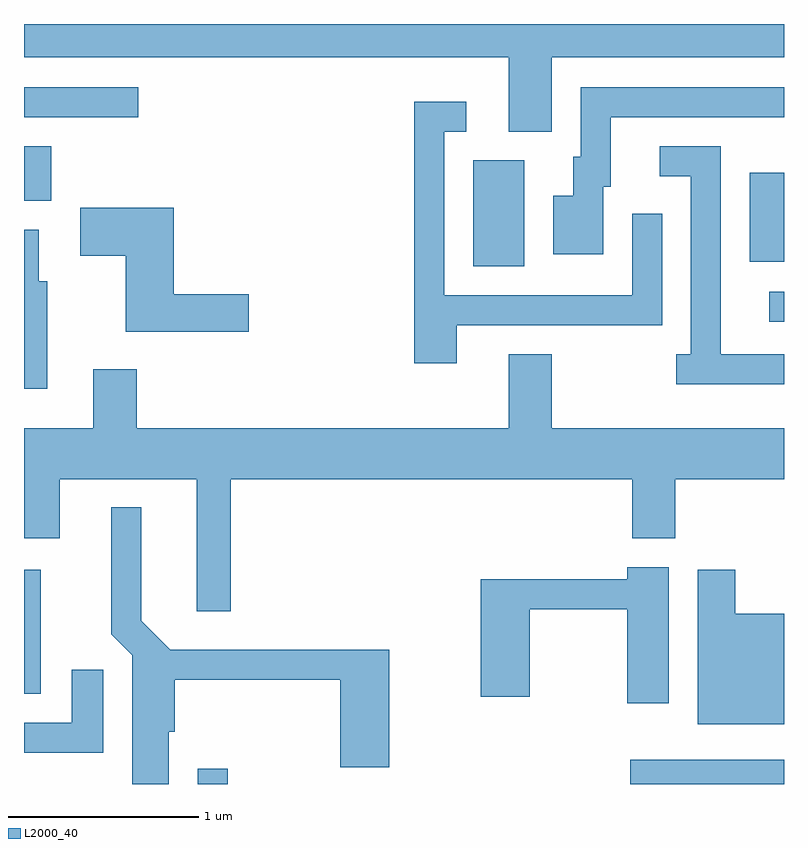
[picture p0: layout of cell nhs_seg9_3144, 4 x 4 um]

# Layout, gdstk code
import gdstk
lib = gdstk.Library(unit=1e-6, precision=1e-09)
def R(c, l, rs):  # rectangles x0, y0, x1, y1
    for r in rs: c.add(gdstk.rectangle(r[:2], r[2:], *l))
def P(c, l, *ps):  # polygons
    for p in ps: c.add(gdstk.Polygon(p, *l))
L2000_40 = (2000, 40)

nhs_seg9_3144 = lib.new_cell('nhs_seg9_3144')
R(nhs_seg9_3144, L2000_40, [(278.526,1992.432,278.684,1992.513), (280.803,1992.432,281.611,1992.559), (277.611,1992.906,277.699,1993.559), (281.533,1994.866,281.611,1995.024), (279.976,1995.156,280.244,1995.714), (281.431,1995.181,281.611,1995.649), (277.611,1995.501,277.754,1995.789), (277.611,1995.941,278.213,1996.099)])
P(nhs_seg9_3144, L2000_40, [(280.389,1996.256),(281.611,1996.256),(281.611,1996.432),(277.611,1996.432),(277.611,1996.256),(280.161,1996.256),(280.161,1995.866),(280.389,1995.866)],
  [(280.659,1995.576),(280.699,1995.576),(280.699,1995.941),(281.611,1995.941),(281.611,1996.099),(280.541,1996.099),(280.541,1995.734),(280.501,1995.734),(280.501,1995.529),(280.396,1995.529),(280.396,1995.221),(280.659,1995.221)],
  [(279.889,1994.846),(280.969,1994.846),(280.969,1995.433),(280.811,1995.433),(280.811,1995.004),(279.824,1995.004),(279.824,1995.866),(279.938,1995.866),(279.938,1996.024),(279.666,1996.024),(279.666,1994.646),(279.889,1994.646)],
  [(281.611,1994.694),(281.279,1994.694),(281.279,1995.789),(280.958,1995.789),(280.958,1995.631),(281.121,1995.631),(281.121,1994.694),(281.043,1994.694),(281.043,1994.536),(281.611,1994.536)],
  [(278.794,1995.009),(278.399,1995.009),(278.399,1995.464),(277.906,1995.464),(277.906,1995.211),(278.146,1995.211),(278.146,1994.811),(278.794,1994.811)],
  [(277.734,1995.079),(277.689,1995.079),(277.689,1995.349),(277.611,1995.349),(277.611,1994.511),(277.734,1994.511)],
  [(278.699,1994.036),(280.811,1994.036),(280.811,1993.726),(281.039,1993.726),(281.039,1994.036),(281.611,1994.036),(281.611,1994.304),(280.389,1994.304),(280.389,1994.694),(280.161,1994.694),(280.161,1994.304),(278.204,1994.304),(278.204,1994.614),(277.976,1994.614),(277.976,1994.304),(277.611,1994.304),(277.611,1993.726),(277.799,1993.726),(277.799,1994.036),(278.521,1994.036),(278.521,1993.341),(278.699,1993.341)],
  [(278.374,1992.706),(278.404,1992.706),(278.404,1992.981),(279.276,1992.981),(279.276,1992.521),(279.534,1992.521),(279.534,1993.139),(278.382,1993.139),(278.229,1993.292),(278.229,1993.888),(278.071,1993.888),(278.071,1993.219),(278.181,1993.109),(278.181,1992.432),(278.374,1992.432)],
  [(281.004,1993.574),(280.786,1993.574),(280.786,1993.509),(280.016,1993.509),(280.016,1992.891),(280.274,1992.891),(280.274,1993.351),(280.786,1993.351),(280.786,1992.856),(281.004,1992.856)],
  [(281.611,1993.329),(281.354,1993.329),(281.354,1993.559),(281.156,1993.559),(281.156,1992.746),(281.611,1992.746)],
  [(278.029,1993.033),(277.861,1993.033),(277.861,1992.754),(277.611,1992.754),(277.611,1992.596),(278.029,1992.596)])

lib.write_gds('nhs_seg9_3144.gds')
